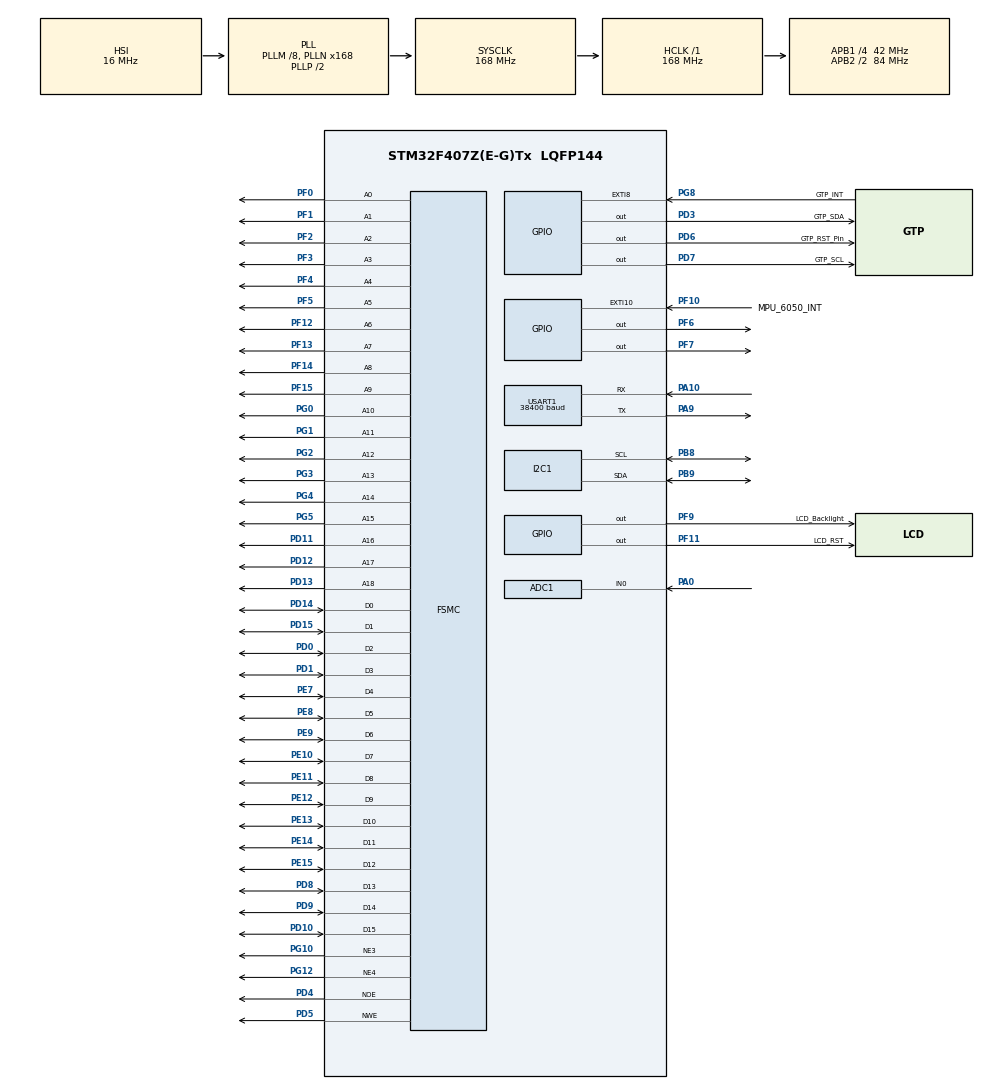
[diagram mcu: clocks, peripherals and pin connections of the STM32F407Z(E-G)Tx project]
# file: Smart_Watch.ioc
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ADC1.Channel-1\#ChannelRegularConversion=ADC_CHANNEL_0
ADC1.NbrOfConversionFlag=1
ADC1.Rank-1\#ChannelRegularConversion=1
ADC1.SamplingTime-1\#ChannelRegularConversion=ADC_SAMPLETIME_3CYCLES
ADC1.master=1
Dma.MEMTOMEM.0.Direction=DMA_MEMORY_TO_MEMORY
Dma.MEMTOMEM.0.FIFOMode=DMA_FIFOMODE_ENABLE
Dma.MEMTOMEM.0.FIFOThreshold=DMA_FIFO_THRESHOLD_FULL
Dma.MEMTOMEM.0.Instance=DMA2_Stream0
Dma.MEMTOMEM.0.MemBurst=DMA_MBURST_SINGLE
Dma.MEMTOMEM.0.MemDataAlignment=DMA_MDATAALIGN_HALFWORD
Dma.MEMTOMEM.0.MemInc=DMA_MINC_DISABLE
Dma.MEMTOMEM.0.Mode=DMA_NORMAL
Dma.MEMTOMEM.0.PeriphBurst=DMA_PBURST_SINGLE
Dma.MEMTOMEM.0.PeriphDataAlignment=DMA_PDATAALIGN_HALFWORD
Dma.MEMTOMEM.0.PeriphInc=DMA_PINC_ENABLE
Dma.MEMTOMEM.0.Priority=DMA_PRIORITY_LOW
Dma.Request0=MEMTOMEM
FREERTOS.Events01=MPU_INT_Event,Dynamic,NULL
FREERTOS.HEAP_NUMBER=4
FREERTOS.Tasks01=GT_Touch_ISR_Cb,40,128,GT_Touch_ISR_Entry,Default,NULL,Dynamic,NULL,NULL;lv_task_handler,24,512,lv_task_entry,Default,NULL,Dynamic,NULL,NULL;MPU_Data_Get_Ta,40,256,MPU_task_entry,Default,NULL,Dynamic,NULL,NULL;Heart_Beat_Task,8,512,Heart_Beat_Entry,Default,NULL,Dynamic,NULL,NULL
FREERTOS.configENABLE_FPU=1
FREERTOS.configUSE_TICK_HOOK=1
FSMC.AddressSetupTime1=4
FSMC.BusTurnAroundDuration1=0
FSMC.DataSetupTime1=4
FSMC.ExtendedMode1=FSMC_EXTENDED_MODE_ENABLE
FSMC.ExtendedMode2=FSMC_EXTENDED_MODE_ENABLE
FSMC.WriteOperation1=FSMC_WRITE_OPERATION_ENABLE
FSMC.WriteOperation2=FSMC_WRITE_OPERATION_ENABLE
I2C1.I2C_Mode=I2C_Standard
Mcu.Family=STM32F4
Mcu.Name=STM32F407Z(E-G)Tx
Mcu.Package=LQFP144
NVIC.DMA2_Stream0_IRQn=true\:5\:0\:false\:false\:true\:true\:true\:true
NVIC.EXTI15_10_IRQn=true\:10\:0\:true\:false\:true\:true\:true\:true
NVIC.EXTI9_5_IRQn=true\:10\:0\:true\:false\:true\:true\:true\:true
NVIC.PriorityGroup=NVIC_PRIORITYGROUP_4
NVIC.TIM7_IRQn=true\:15\:0\:true\:false\:true\:false\:false\:true
NVIC.TimeBase=TIM7_IRQn
NVIC.TimeBaseIP=TIM7
NVIC.USART1_IRQn=true\:5\:0\:false\:false\:true\:true\:true\:true
PA0-WKUP.Signal=ADCx_IN0
PA10.Mode=Asynchronous
PA10.Signal=USART1_RX
PA13.Mode=JTAG_4_pins
PA13.Signal=SYS_JTMS-SWDIO
PA14.Mode=JTAG_4_pins
PA14.Signal=SYS_JTCK-SWCLK
PA15.Mode=JTAG_4_pins
PA15.Signal=SYS_JTDI
PA9.Mode=Asynchronous
PA9.Signal=USART1_TX
PB3.Mode=JTAG_4_pins
PB3.Signal=SYS_JTDO-SWO
PB8.Mode=I2C
PB8.Signal=I2C1_SCL
PB9.Mode=I2C
PB9.Signal=I2C1_SDA
PD0.Signal=FSMC_D2_DA2
PD1.Signal=FSMC_D3_DA3
PD10.Signal=FSMC_D15_DA15
PD11.Signal=FSMC_A16_CLE
PD12.Signal=FSMC_A17_ALE
PD13.Signal=FSMC_A18
PD14.Signal=FSMC_D0_DA0
PD15.Signal=FSMC_D1_DA1
PD3.GPIO_Label=GTP_SDA
PD3.GPIO_ModeDefaultOutputPP=GPIO_MODE_OUTPUT_OD
PD3.GPIO_PuPd=GPIO_NOPULL
PD3.GPIO_Speed=GPIO_SPEED_FREQ_HIGH
PD3.PinState=GPIO_PIN_RESET
PD3.Signal=GPIO_Output
PD4.Signal=FSMC_NOE
PD5.Signal=FSMC_NWE
PD6.GPIO_Label=GTP_RST_Pin
PD6.Signal=GPIO_Output
PD7.GPIO_Label=GTP_SCL
PD7.GPIO_ModeDefaultOutputPP=GPIO_MODE_OUTPUT_OD
PD7.GPIO_Speed=GPIO_SPEED_FREQ_HIGH
PD7.Signal=GPIO_Output
PD8.Signal=FSMC_D13_DA13
PD9.Signal=FSMC_D14_DA14
PE10.Signal=FSMC_D7_DA7
PE11.Signal=FSMC_D8_DA8
PE12.Signal=FSMC_D9_DA9
PE13.Signal=FSMC_D10_DA10
PE14.Signal=FSMC_D11_DA11
PE15.Signal=FSMC_D12_DA12
PE7.Signal=FSMC_D4_DA4
PE8.Signal=FSMC_D5_DA5
PE9.Signal=FSMC_D6_DA6
PF0.Signal=FSMC_A0
PF1.Signal=FSMC_A1
PF10.GPIO_Label=MPU_6050_INT
PF10.Signal=GPXTI10
PF11.GPIO_Label=LCD_RST
PF11.GPIO_ModeDefaultOutputPP=GPIO_MODE_OUTPUT_PP
PF11.GPIO_PuPd=GPIO_PULLUP
PF11.GPIO_Speed=GPIO_SPEED_FREQ_HIGH
PF11.PinState=GPIO_PIN_RESET
PF11.Signal=GPIO_Output
PF12.Signal=FSMC_A6
PF13.Signal=FSMC_A7
PF14.Signal=FSMC_A8
PF15.Signal=FSMC_A9
PF2.Signal=FSMC_A2
PF3.Signal=FSMC_A3
PF4.Signal=FSMC_A4
PF5.Signal=FSMC_A5
PF6.GPIO_ModeDefaultOutputPP=GPIO_MODE_OUTPUT_PP
PF6.GPIO_PuPd=GPIO_NOPULL
PF6.GPIO_Speed=GPIO_SPEED_FREQ_LOW
PF6.PinState=GPIO_PIN_RESET
PF6.Signal=GPIO_Output
PF7.PinState=GPIO_PIN_SET
PF7.Signal=GPIO_Output
PF9.GPIO_Label=LCD_Backlight
PF9.GPIO_PuPd=GPIO_PULLUP
PF9.GPIO_Speed=GPIO_SPEED_FREQ_HIGH
PF9.PinState=GPIO_PIN_RESET
PF9.Signal=GPIO_Output
PG0.Signal=FSMC_A10
PG1.Signal=FSMC_A11
PG10.Mode=NorPsramChipSelect3_1
PG10.Signal=FSMC_NE3
PG12.Mode=NorPsramChipSelect4_2
PG12.Signal=FSMC_NE4
PG2.Signal=FSMC_A12
PG3.Signal=FSMC_A13
PG4.Signal=FSMC_A14
PG5.Signal=FSMC_A15
PG8.GPIO_Label=GTP_INT
PG8.Signal=GPXTI8
PH0-OSC_IN.Mode=HSE-External-Oscillator
PH0-OSC_IN.Signal=RCC_OSC_IN
PH1-OSC_OUT.Mode=HSE-External-Oscillator
PH1-OSC_OUT.Signal=RCC_OSC_OUT
ProjectManager.HeapSize=0x200
ProjectManager.StackSize=0x400
ProjectManager.TargetToolchain=MDK-ARM V5.27
RCC.48MHZClocksFreq_Value=84000000
RCC.AHBFreq_Value=168000000
RCC.APB1CLKDivider=RCC_HCLK_DIV4
RCC.APB1Freq_Value=42000000
RCC.APB1TimFreq_Value=84000000
RCC.APB2CLKDivider=RCC_HCLK_DIV2
RCC.APB2Freq_Value=84000000
RCC.APB2TimFreq_Value=168000000
RCC.CortexFreq_Value=168000000
RCC.HCLKFreq_Value=168000000
RCC.HSE_VALUE=25000000
RCC.HSI_VALUE=16000000
RCC.LSE_VALUE=32768
RCC.PLLM=8
RCC.PLLN=168
RCC.SYSCLKFreq_VALUE=168000000
RCC.SYSCLKSource=RCC_SYSCLKSOURCE_PLLCLK
RCC.VCOOutputFreq_Value=336000000
SH.ADCx_IN0.0=ADC1_IN0,IN0
SH.FSMC_A0.0=FSMC_A0,1b-a1
SH.FSMC_A0.1=FSMC_A0,19b-a2
SH.FSMC_A1.0=FSMC_A1,19b-a2
SH.FSMC_A10.0=FSMC_A10,19b-a2
SH.FSMC_A11.0=FSMC_A11,19b-a2
SH.FSMC_A12.0=FSMC_A12,19b-a2
SH.FSMC_A13.0=FSMC_A13,19b-a2
SH.FSMC_A14.0=FSMC_A14,19b-a2
SH.FSMC_A15.0=FSMC_A15,19b-a2
SH.FSMC_A16_CLE.0=FSMC_A16,19b-a2
SH.FSMC_A17_ALE.0=FSMC_A17,19b-a2
SH.FSMC_A18.0=FSMC_A18,19b-a2
SH.FSMC_A2.0=FSMC_A2,19b-a2
SH.FSMC_A3.0=FSMC_A3,19b-a2
SH.FSMC_A4.0=FSMC_A4,19b-a2
SH.FSMC_A5.0=FSMC_A5,19b-a2
SH.FSMC_A6.0=FSMC_A6,19b-a2
SH.FSMC_A7.0=FSMC_A7,19b-a2
SH.FSMC_A8.0=FSMC_A8,19b-a2
SH.FSMC_A9.0=FSMC_A9,19b-a2
SH.FSMC_D0_DA0.0=FSMC_D0,16b-d1
SH.FSMC_D0_DA0.1=FSMC_D0,16b-d2
SH.FSMC_D10_DA10.0=FSMC_D10,16b-d1
SH.FSMC_D10_DA10.1=FSMC_D10,16b-d2
SH.FSMC_D11_DA11.0=FSMC_D11,16b-d1
SH.FSMC_D11_DA11.1=FSMC_D11,16b-d2
SH.FSMC_D12_DA12.0=FSMC_D12,16b-d1
SH.FSMC_D12_DA12.1=FSMC_D12,16b-d2
SH.FSMC_D13_DA13.0=FSMC_D13,16b-d1
SH.FSMC_D13_DA13.1=FSMC_D13,16b-d2
SH.FSMC_D14_DA14.0=FSMC_D14,16b-d1
SH.FSMC_D14_DA14.1=FSMC_D14,16b-d2
SH.FSMC_D15_DA15.0=FSMC_D15,16b-d1
SH.FSMC_D15_DA15.1=FSMC_D15,16b-d2
SH.FSMC_D1_DA1.0=FSMC_D1,16b-d1
SH.FSMC_D1_DA1.1=FSMC_D1,16b-d2
SH.FSMC_D2_DA2.0=FSMC_D2,16b-d1
SH.FSMC_D2_DA2.1=FSMC_D2,16b-d2
SH.FSMC_D3_DA3.0=FSMC_D3,16b-d1
SH.FSMC_D3_DA3.1=FSMC_D3,16b-d2
SH.FSMC_D4_DA4.0=FSMC_D4,16b-d1
SH.FSMC_D4_DA4.1=FSMC_D4,16b-d2
SH.FSMC_D5_DA5.0=FSMC_D5,16b-d1
SH.FSMC_D5_DA5.1=FSMC_D5,16b-d2
SH.FSMC_D6_DA6.0=FSMC_D6,16b-d1
SH.FSMC_D6_DA6.1=FSMC_D6,16b-d2
SH.FSMC_D7_DA7.0=FSMC_D7,16b-d1
SH.FSMC_D7_DA7.1=FSMC_D7,16b-d2
SH.FSMC_D8_DA8.0=FSMC_D8,16b-d1
SH.FSMC_D8_DA8.1=FSMC_D8,16b-d2
SH.FSMC_D9_DA9.0=FSMC_D9,16b-d1
SH.FSMC_D9_DA9.1=FSMC_D9,16b-d2
SH.FSMC_NOE.0=FSMC_NOE,NorFlash1
SH.FSMC_NOE.1=FSMC_NOE,Sram2
SH.FSMC_NWE.0=FSMC_NWE,NorFlash1
SH.FSMC_NWE.1=FSMC_NWE,Sram2
USART1.BaudRate=38400
USART1.VirtualMode=VM_ASYNC
VP_FREERTOS_VS_CMSIS_V2.Mode=CMSIS_V2
VP_SYS_VS_tim7.Mode=TIM7
board=custom

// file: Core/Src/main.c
/* USER CODE BEGIN Header */
/**
  ******************************************************************************
  * @file           : main.c
  * @brief          : Main program body
  ******************************************************************************
  * @attention
  *
  * <h2><center>&copy; Copyright (c) 2022 STMicroelectronics.
  * All rights reserved.</center></h2>
  *
  * This software component is licensed by ST under Ultimate Liberty license
  * SLA0044, the "License"; You may not use this file except in compliance with
  * the License. You may obtain a copy of the License at:
  *                             www.st.com/SLA0044
  *
  ******************************************************************************
  */
/* USER CODE END Header */
#include "main.h"
#include "cmsis_os.h"
#include "adc.h"
#include "dma.h"
#include "i2c.h"
#include "usart.h"
#include "gpio.h"
#include "fsmc.h"

/* USER CODE BEGIN Includes */
#include "stdio.h"
#include "bsp_nt35510_lcd.h"
#include "bsp_sdram.h"
#include "lvgl.h"
#include "lvgl_port.h"
#include "lvgl_ui.h"
#include "lv_demo_benchmark.h"
#include "mpl.h"
#include "inv_mpu.h"
#include "inv_mpu_dmp_motion_driver.h"
#include "heart_beat_oxygen.h"
/* USER CODE END Includes */

void SystemClock_Config(void);
void MX_FREERTOS_Init(void);

int main(void)
{
  /* USER CODE BEGIN 1 */
	//inv_error_t result;
	struct int_param_s int_param;
  /* USER CODE END 1 */

  /* MCU Configuration--------------------------------------------------------*/

  /* Reset of all peripherals, Initializes the Flash interface and the Systick. */
  HAL_Init();

  /* Configure the system clock */
  SystemClock_Config();

  /* Initialize all configured peripherals */
  MX_GPIO_Init();
  MX_FSMC_Init();
  MX_DMA_Init();
  MX_I2C1_Init();
  MX_ADC1_Init();
  MX_USART1_UART_Init();
  /* USER CODE BEGIN 2 */
  heart_beat_test();
	//LCD_Test();
  NT35510_Init();
  FSMC_SRAM_Init();

  lv_init();
  lv_port_disp_init();
  lv_port_indev_init();

  mpu_init(&int_param);
  //初始化MPU6050
//  inv_init_mpl();
//  inv_start_mpl();

  mpu_set_sensors(INV_XYZ_GYRO|INV_XYZ_ACCEL);
  //使能XYZ轴角度传感器，使能XYZ轴加速度传感器
  mpu_set_gyro_fsr(250);
  //配置角度传感器量程
  mpu_set_accel_fsr(4);
  //配置加速度传感器量程
  mpu_configure_fifo(INV_XYZ_GYRO | INV_XYZ_ACCEL);
  mpu_set_sample_rate(800);
  //mpu_set_lpf(20);

  int ret = dmp_load_motion_driver_firmware();
  dmp_enable_feature(DMP_FEATURE_PEDOMETER);
  dmp_set_interrupt_mode(DMP_INT_CONTINUOUS);
  dmp_set_fifo_rate(200);
  mpu_set_dmp_state(1);

  //lv_demo_music();
  bg_test();
  /* USER CODE END 2 */

  /* Init scheduler */
  osKernelInitialize();  /* Call init function for freertos objects (in freertos.c) */
  MX_FREERTOS_Init();
  /* Start scheduler */
  osKernelStart();

  /* We should never get here as control is now taken by the scheduler */
  /* Infinite loop */
  while (1)
  {

  }
}

void SystemClock_Config(void)
{
  RCC_OscInitTypeDef RCC_OscInitStruct = {0};
  RCC_ClkInitTypeDef RCC_ClkInitStruct = {0};

  /** Configure the main internal regulator output voltage
  */
  __HAL_RCC_PWR_CLK_ENABLE();
  __HAL_PWR_VOLTAGESCALING_CONFIG(PWR_REGULATOR_VOLTAGE_SCALE1);
  /** Initializes the RCC Oscillators according to the specified parameters
  * in the RCC_OscInitTypeDef structure.
  */
  RCC_OscInitStruct.OscillatorType = RCC_OSCILLATORTYPE_HSI;
  RCC_OscInitStruct.HSIState = RCC_HSI_ON;
  RCC_OscInitStruct.HSICalibrationValue = RCC_HSICALIBRATION_DEFAULT;
  RCC_OscInitStruct.PLL.PLLState = RCC_PLL_ON;
  RCC_OscInitStruct.PLL.PLLSource = RCC_PLLSOURCE_HSI;
  RCC_OscInitStruct.PLL.PLLM = 8;
  RCC_OscInitStruct.PLL.PLLN = 168;
  RCC_OscInitStruct.PLL.PLLP = RCC_PLLP_DIV2;
  RCC_OscInitStruct.PLL.PLLQ = 4;
  if (HAL_RCC_OscConfig(&RCC_OscInitStruct) != HAL_OK)
  {
    Error_Handler();
  }
  /** Initializes the CPU, AHB and APB buses clocks
  */
  RCC_ClkInitStruct.ClockType = RCC_CLOCKTYPE_HCLK|RCC_CLOCKTYPE_SYSCLK
                              |RCC_CLOCKTYPE_PCLK1|RCC_CLOCKTYPE_PCLK2;
  RCC_ClkInitStruct.SYSCLKSource = RCC_SYSCLKSOURCE_PLLCLK;
  RCC_ClkInitStruct.AHBCLKDivider = RCC_SYSCLK_DIV1;
  RCC_ClkInitStruct.APB1CLKDivider = RCC_HCLK_DIV4;
  RCC_ClkInitStruct.APB2CLKDivider = RCC_HCLK_DIV2;

  if (HAL_RCC_ClockConfig(&RCC_ClkInitStruct, FLASH_LATENCY_5) != HAL_OK)
  {
    Error_Handler();
  }
}

void HAL_TIM_PeriodElapsedCallback(TIM_HandleTypeDef *htim)
{
  if (htim->Instance == TIM7) {
    HAL_IncTick();
  }
}

void Error_Handler(void)
{
  __disable_irq();
  while (1)
  {
  }
}

/************************ (C) COPYRIGHT STMicroelectronics *****END OF FILE****/

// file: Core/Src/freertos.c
/* USER CODE BEGIN Header */
/**
  ******************************************************************************
  * File Name          : freertos.c
  * Description        : Code for freertos applications
  ******************************************************************************
  * @attention
  *
  * <h2><center>&copy; Copyright (c) 2022 STMicroelectronics.
  * All rights reserved.</center></h2>
  *
  * This software component is licensed by ST under Ultimate Liberty license
  * SLA0044, the "License"; You may not use this file except in compliance with
  * the License. You may obtain a copy of the License at:
  *                             www.st.com/SLA0044
  *
  ******************************************************************************
  */
/* USER CODE END Header */

#include "FreeRTOS.h"
#include "task.h"
#include "main.h"
#include "cmsis_os.h"

/* USER CODE BEGIN Includes */
#include "lvgl.h"
#include "lvgl_ui.h"
#include "gt5xx.h"

#include "usart.h"
#include "heart_beat_oxygen.h"
/* USER CODE END Includes */

/* USER CODE BEGIN Variables */
osEventFlagsAttr_t GT_Touch_ISR_Event_Attr = {
	.name = "GT_Touch_ISR_Event",
	.attr_bits = 0,
	.cb_mem	 = NULL,
	.cb_size = 0,
};
osEventFlagsId_t GT_Touch_ID;

static unsigned long cnt = 0;
RT_PACK data;
extern lv_chart_series_t* ser1;
extern lv_obj_t* heart_chart;
/* USER CODE END Variables */
/* Definitions for GT_Touch_ISR_Cb */
osThreadId_t GT_Touch_ISR_CbHandle;
const osThreadAttr_t GT_Touch_ISR_Cb_attributes = {
  .name = "GT_Touch_ISR_Cb",
  .stack_size = 128 * 4,
  .priority = (osPriority_t) osPriorityHigh,
};
/* Definitions for lv_task_handler */
osThreadId_t lv_task_handlerHandle;
const osThreadAttr_t lv_task_handler_attributes = {
  .name = "lv_task_handler",
  .stack_size = 512 * 4,
  .priority = (osPriority_t) osPriorityNormal,
};
/* Definitions for MPU_Data_Get_Ta */
osThreadId_t MPU_Data_Get_TaHandle;
const osThreadAttr_t MPU_Data_Get_Ta_attributes = {
  .name = "MPU_Data_Get_Ta",
  .stack_size = 256 * 4,
  .priority = (osPriority_t) osPriorityHigh,
};
/* Definitions for Heart_Beat_Task */
osThreadId_t Heart_Beat_TaskHandle;
const osThreadAttr_t Heart_Beat_Task_attributes = {
  .name = "Heart_Beat_Task",
  .stack_size = 512 * 4,
  .priority = (osPriority_t) osPriorityLow,
};
/* Definitions for MPU_INT_Event */
osEventFlagsId_t MPU_INT_EventHandle;
const osEventFlagsAttr_t MPU_INT_Event_attributes = {
  .name = "MPU_INT_Event"
};

void GT_Touch_ISR_Entry(void *argument);
void lv_task_entry(void *argument);
void MPU_task_entry(void *argument);
void Heart_Beat_Entry(void *argument);

void MX_FREERTOS_Init(void); /* (MISRA C 2004 rule 8.1) */

/* Hook prototypes */
void vApplicationTickHook(void);

/* USER CODE BEGIN 3 */
void vApplicationTickHook( void )
{
   /* This function will be called by each tick interrupt if
   configUSE_TICK_HOOK is set to 1 in FreeRTOSConfig.h. User code can be
   added here, but the tick hook is called from an interrupt context, so
   code must not attempt to block, and only the interrupt safe FreeRTOS API
   functions can be used (those that end in FromISR()). */
	lv_tick_inc(1);
}
/* USER CODE END 3 */

void MX_FREERTOS_Init(void) {

  /* Create the thread(s) */
  /* creation of GT_Touch_ISR_Cb */
  GT_Touch_ISR_CbHandle = osThreadNew(GT_Touch_ISR_Entry, NULL, &GT_Touch_ISR_Cb_attributes);

  /* creation of lv_task_handler */
  lv_task_handlerHandle = osThreadNew(lv_task_entry, NULL, &lv_task_handler_attributes);

  /* creation of MPU_Data_Get_Ta */
  MPU_Data_Get_TaHandle = osThreadNew(MPU_task_entry, NULL, &MPU_Data_Get_Ta_attributes);

  /* creation of Heart_Beat_Task */
  Heart_Beat_TaskHandle = osThreadNew(Heart_Beat_Entry, NULL, &Heart_Beat_Task_attributes);

  /* Create the event(s) */
  /* creation of MPU_INT_Event */
  MPU_INT_EventHandle = osEventFlagsNew(&MPU_INT_Event_attributes);

}

void GT_Touch_ISR_Entry(void *argument)
{
  /* USER CODE BEGIN GT_Touch_ISR_Entry */
  /* Infinite loop */
  for(;;)
  {
	osDelay(50);
  }
  /* USER CODE END GT_Touch_ISR_Entry */
}

void lv_task_entry(void *argument)
{
  /* USER CODE BEGIN lv_task_entry */
  /* Infinite loop */
  for(;;)
  {

	lv_task_handler();
	osDelay(5);

  }
  /* USER CODE END lv_task_entry */
}

void MPU_task_entry(void *argument)
{
  /* USER CODE BEGIN MPU_task_entry */
  /* Infinite loop */
  for(;;)
  {

	pedometer_cnt_fresh();
	osEventFlagsClear(MPU_INT_EventHandle,1);
  osDelay(100);
  }
  /* USER CODE END MPU_task_entry */
}

void Heart_Beat_Entry(void *argument)
{
  /* USER CODE BEGIN Heart_Beat_Entry */
  /* Infinite loop */

  for(;;)
  {
	uint8_t temp = 0;
	HAL_UART_Receive(&huart1,&temp,1,100);
	if(temp == 0xFF)
	{
		if(HAL_UART_Receive(&huart1,(uint8_t*)&data,sizeof(RT_PACK),500) == HAL_OK)
		{
			heart_rate_fresh(data.heartrate);
			oxygen_rate_fresh(data.spo2);
		}
	}

    osDelay(1);
  }
  /* USER CODE END Heart_Beat_Entry */
}

/************************ (C) COPYRIGHT STMicroelectronics *****END OF FILE****/
